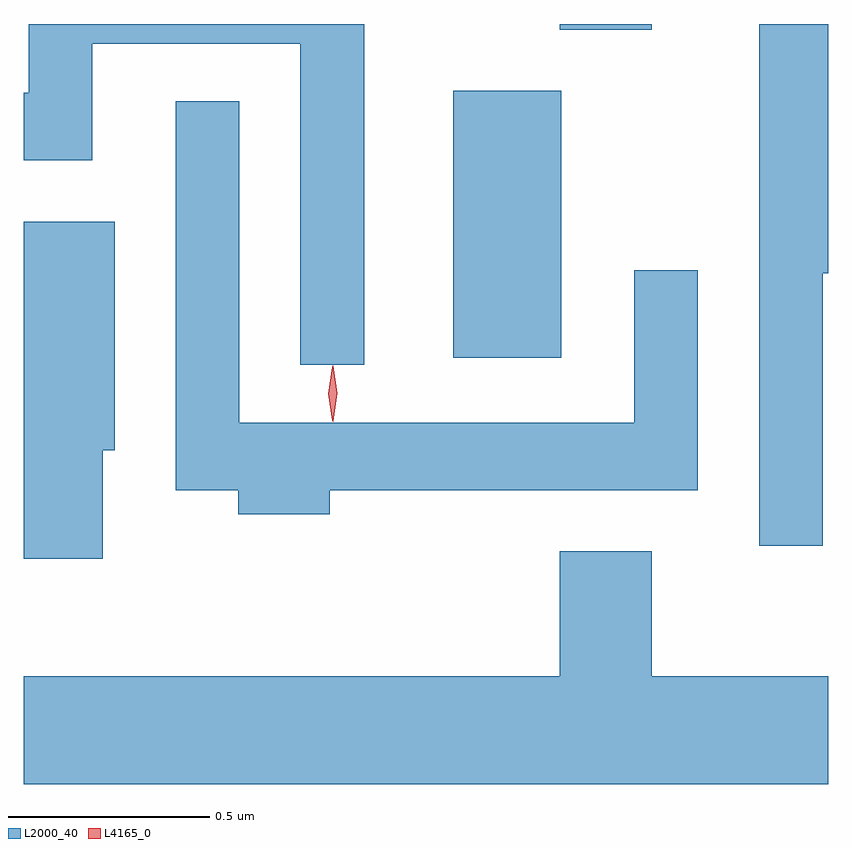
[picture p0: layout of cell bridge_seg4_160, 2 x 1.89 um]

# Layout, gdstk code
import gdstk
lib = gdstk.Library(unit=1e-6, precision=1e-09)
def R(c, l, rs):  # rectangles x0, y0, x1, y1
    for r in rs: c.add(gdstk.rectangle(r[:2], r[2:], *l))
def P(c, l, *ps):  # polygons
    for p in ps: c.add(gdstk.Polygon(p, *l))
L2000_40 = (2000, 40)
L4165_0 = (4165, 0)

bridge_seg4_160 = lib.new_cell('bridge_seg4_160')
R(bridge_seg4_160, L2000_40, [(869.786,1278.036,870.054,1278.699), (870.051,1278.851,870.279,1278.865)])
P(bridge_seg4_160, L2000_40, [(870.704,1278.246),(870.718,1278.246),(870.718,1278.865),(870.546,1278.865),(870.546,1277.568),(870.704,1277.568)],
  [(869.564,1278.865),(868.731,1278.865),(868.731,1278.694),(868.718,1278.694),(868.718,1278.526),(868.889,1278.526),(868.889,1278.816),(869.406,1278.816),(869.406,1278.018),(869.564,1278.018)],
  [(869.479,1277.706),(870.394,1277.706),(870.394,1278.253),(870.236,1278.253),(870.236,1277.874),(869.254,1277.874),(869.254,1278.673),(869.096,1278.673),(869.096,1277.706),(869.251,1277.706),(869.251,1277.646),(869.479,1277.646)],
  [(868.914,1277.806),(868.944,1277.806),(868.944,1278.374),(868.718,1278.374),(868.718,1277.536),(868.914,1277.536)],
  [(870.718,1277.244),(870.279,1277.244),(870.279,1277.554),(870.051,1277.554),(870.051,1277.244),(868.718,1277.244),(868.718,1276.976),(870.718,1276.976)])
P(bridge_seg4_160, L4165_0, [(869.485,1277.879),(869.485,1277.88),(869.475,1277.946),(869.485,1278.012),(869.485,1278.013),(869.486,1278.012),(869.495,1277.946),(869.486,1277.88)],
  [(869.487,1277.877),(869.486,1277.878),(869.477,1277.947),(869.486,1278.016),(869.487,1278.016),(869.488,1278.016),(869.497,1277.947),(869.488,1277.878)])

lib.write_gds('bridge_seg4_160.gds')
